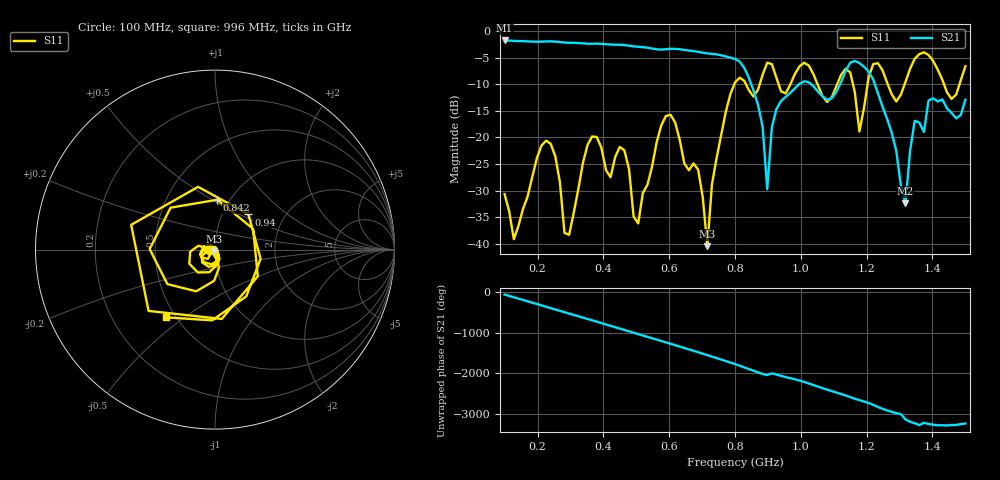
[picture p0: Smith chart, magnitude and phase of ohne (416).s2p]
! NanoVNA-App
! Date: 2025-09-25 14:24:02
! Start: 100MHz Stop: 1,5GHz Points: 101
! S-Parameter data: F S11 S21 S12 S22
# Hz S RI R 50
!  Frequency  S11_Real  S11_Imag  S21_Real  S21_Imag  S12_Real  S12_Imag  S22_Real  S22_Imag
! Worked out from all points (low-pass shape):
!   101 points, 100 MHz to 1.5 GHz, reference 50 ohm
!   highest |S21| = -1.79 dB at 100 MHz (marker M1); lowest = -32.4 dB at 1.318 GHz (marker M2)
!   |S21| within 3 dB of the highest: start of sweep to 772.1 MHz
!   lowest |S11| = -40.4 dB at 716 MHz (marker M3), VSWR 1.02, Z = 49.7 - j0.906 ohm
!   |S11| at or under -10 dB: start of sweep to 798 MHz; 833.1 MHz to 875.1 MHz (42.01 MHz wide, 4.92 % of centre); 1.051 GHz to 1.111 GHz (59.9 MHz wide, 5.54 % of centre) (the widest 3 of 7)
!   S12 and S22 are empty: the file has one direction only
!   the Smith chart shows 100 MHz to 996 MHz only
!   S11 on the Smith chart (normalised r, x): 100 MHz: 0.94, -0.01; 842 MHz: 0.88, +0.53; 940 MHz: 1.32, +0.56; 996 MHz: 0.45, -0.43
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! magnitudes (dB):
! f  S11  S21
! 100 MHz  -30.6  -1.8
! 128 MHz  -39.1  -1.9
! 226 MHz  -20.6  -2.0
! 296 MHz  -38.3  -2.2
! 338 MHz  -24.8  -2.3
! 464 MHz  -22.4  -2.7
! 506 MHz  -36.1  -3.0
! 576 MHz  -17.7  -3.5
! 688 MHz  -26.0  -3.9
! 716 MHz  -40.4  -4.2
! 800 MHz  -9.7  -5.3
! 842 MHz  -11.1  -8.8
! 898 MHz  -6.0  -29.7
! 940 MHz  -11.4  -13.2
! 996 MHz  -6.7  -9.9
! 1.038 GHz  -8.1  -10.4
! 1.178 GHz  -18.9  -6.0
! 1.22 GHz  -6.2  -9.1
! 1.276 GHz  -11.9  -19.1
! 1.318 GHz  -9.6  -32.4
! 1.346 GHz  -5.2  -16.9
! 1.5 GHz  -6.6  -12.9
